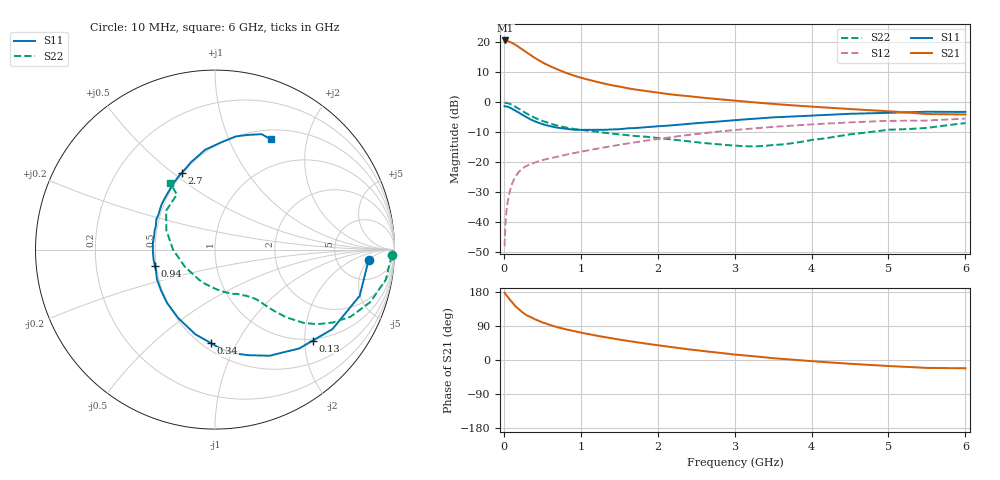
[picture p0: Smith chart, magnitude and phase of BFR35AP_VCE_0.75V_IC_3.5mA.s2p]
! Infineon Technologies  Discrete & RF Semiconductors
! BFR35AP
! VCE = 0.75 V,  IC =  3.5 mA
! Common Emitter S-Parameters:  Nov 2015
# GHz  S  MA  R  50
!  f  S11  S21  S12  S22
! GHz  MAG  ANG  MAG  ANG  MAG  ANG  MAG  ANG
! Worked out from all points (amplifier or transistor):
!   210 points, 10 MHz to 6 GHz, reference 50 ohm
!   highest |S21| = 20.6 dB at 20 MHz (marker M1)
!   |S21| within 3 dB of that: start of sweep to 240.5 MHz
!   unconditionally stable (mu >= 1): 814.8 MHz to end of sweep
!   at 185 MHz: K = 0.33, MSG = 21.0 dB, |S12| = -23.6 dB
!   at 1.52 GHz: K = 1.20, MAG = 6.9 dB, |S12| = -14.1 dB
!   at 6 GHz: K = 1.06, MAG = -0.8 dB, |S12| = -5.5 dB
!   S11 on the Smith chart (normalised r, x): 10 MHz: 11, -5; 130 MHz: 0.96, -2.18; 340 MHz: 0.55, -0.79; 940 MHz: 0.49, -0.10; 2.7 GHz: 0.49, +0.54; 6 GHz: 0.62, +1.44
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0.01  0.858 -3.8  10.58 177.5  0.004 87.2  0.9881 -1.9
0.02  0.8507 -7.2  10.67 174.3  0.009 85.6  0.9779 -4.0
0.05  0.8465 -17.7  10.44 166.5  0.022 80.1  0.9668 -9.9
0.1  0.7903 -34.1  9.869 154.0  0.0416 72.4  0.9131 -18.7
0.13  0.7439 -43.0  9.345 147.0  0.0511 66.5  0.8686 -23.2
0.15  0.724 -49.5  9.08 141.9  0.0576 63.7  0.8422 -26.4
0.2  0.6654 -62.7  8.211 132.8  0.0702 58.6  0.7715 -31.8
0.28  0.5753 -81.5  6.967 120.5  0.0844 52.4  0.6668 -38.1
0.34  0.5227 -92.3  6.186 114.2  0.0919 49.8  0.6059 -40.9
0.4  0.4839 -103.2  5.491 107.7  0.0986 47.7  0.5512 -43.4
0.5  0.4329 -118.2  4.59 99.2  0.1084 46.0  0.488 -45.6
0.6  0.4001 -131.7  3.978 92.2  0.1162 45.4  0.4407 -47.2
0.7  0.3766 -143.2  3.502 86.2  0.1242 45.5  0.4061 -48.3
0.94  0.3467 -164.5  2.698 74.9  0.1446 45.7  0.3547 -50.7
1.02  0.3463 -171.7  2.519 71.5  0.1513 45.8  0.3438 -51.7
1.4  0.3521 162.8  1.918 57.4  0.1848 46.0  0.3009 -58.0
2.02  0.3981 135.4  1.429 38.4  0.2463 43.3  0.2517 -73.0
2.7  0.467 113.1  1.15 21.3  0.3147 37.3  0.2031 -100.7
3.1  0.5132 103.5  1.034 12.7  0.3529 32.5  0.1858 -124.5
4.1  0.6067 85.1  0.828 -4.5  0.4344 20.0  0.243 174.6
5.1  0.6706 72.6  0.694 -16.8  0.4898 6.6  0.3505 137.9
6  0.6886 63.2  0.624 -21.8  0.5324 -2.7  0.4489 124.0
